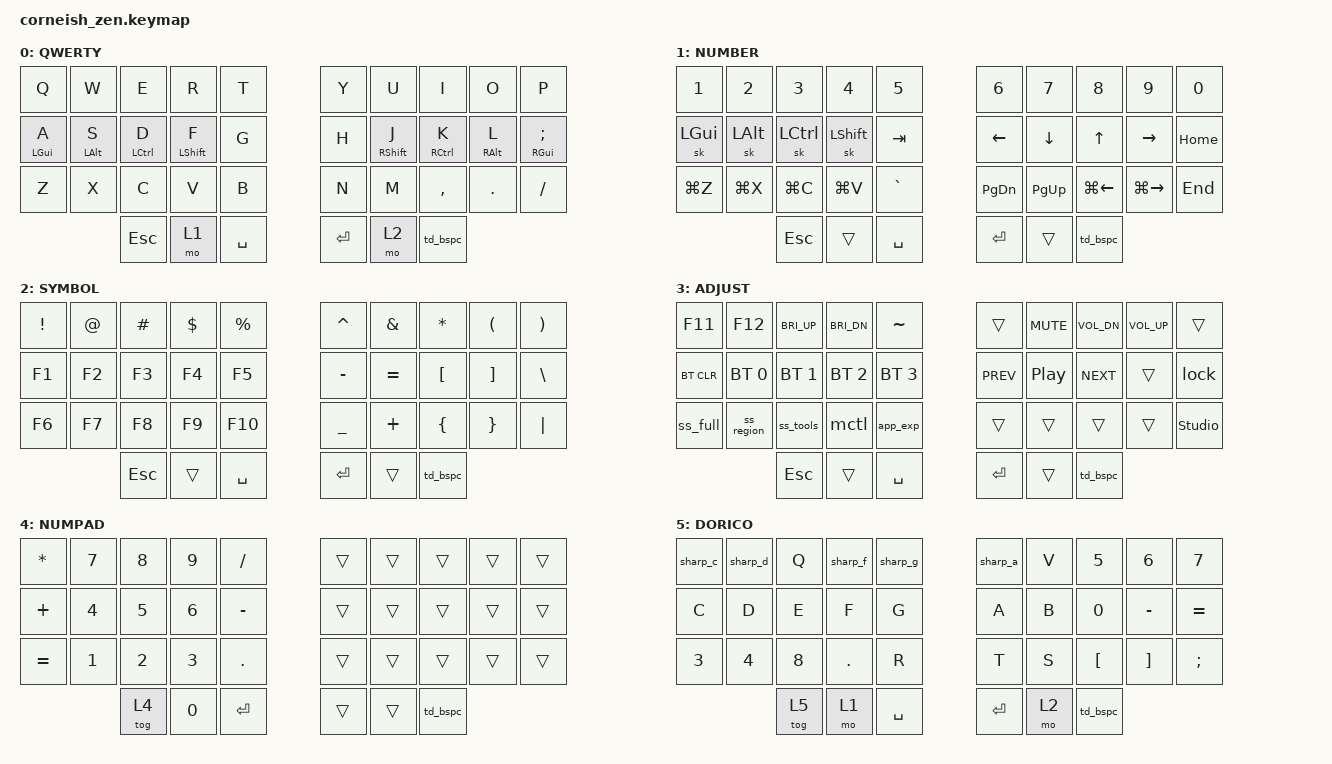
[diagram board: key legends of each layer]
#include <behaviors.dtsi>
#include <dt-bindings/zmk/keys.h>
#include <dt-bindings/zmk/bt.h>

// ╔════════════════════════════════════════════════════════════════════╗
// ║  KEY POSITION REFERENCE — 5-column Corne (36 keys)               ║
// ║                                                                    ║
// ║   0  1  2  3  4  │  5  6  7  8  9                                ║
// ║  10 11 12 13 14  │ 15 16 17 18 19                                ║
// ║  20 21 22 23 24  │ 25 26 27 28 29                                ║
// ║        30 31 32  │ 33 34 35                                       ║
// ╚════════════════════════════════════════════════════════════════════╝

// Left-hand key positions (for positional hold-tap)
#define KEYS_L 0 1 2 3 4 10 11 12 13 14 20 21 22 23 24
// Right-hand key positions
#define KEYS_R 5 6 7 8 9 15 16 17 18 19 25 26 27 28 29
// Thumb key positions
#define THUMBS 30 31 32 33 34 35

/ {
    chosen {
        zmk,physical-layout = &foostan_corne_5col_layout;
    };
};

/ {
    // ──────────────────────────────────────────────
    //  BEHAVIORS
    // ──────────────────────────────────────────────

    behaviors {
        // Home Row Mods — Left Hand
        // Hold triggers ONLY when a right-hand or thumb key is pressed.
        hml: home_row_mod_left {
            compatible = "zmk,behavior-hold-tap";
            #binding-cells = <2>;
            flavor = "balanced";
            tapping-term-ms = <280>;
            quick-tap-ms = <175>;
            require-prior-idle-ms = <150>;
            bindings = <&kp>, <&kp>;
            hold-trigger-key-positions = <KEYS_R THUMBS>;
            hold-trigger-on-release;
        };

        // Home Row Mods — Right Hand
        // Mirror of hml; triggers hold on left-hand or thumb keys.
        hmr: home_row_mod_right {
            compatible = "zmk,behavior-hold-tap";
            #binding-cells = <2>;
            flavor = "balanced";
            tapping-term-ms = <280>;
            quick-tap-ms = <175>;
            require-prior-idle-ms = <150>;
            bindings = <&kp>, <&kp>;
            hold-trigger-key-positions = <KEYS_L THUMBS>;
            hold-trigger-on-release;
        };

        // Mod-Morph: Backspace / Delete
        // Tap = Backspace. Shift + Tap = Delete.
        bspc_del: backspace_delete {
            compatible = "zmk,behavior-mod-morph";
            #binding-cells = <0>;
            bindings = <&kp BACKSPACE>, <&kp DELETE>;
            mods = <(MOD_LSFT|MOD_RSFT)>;
        };

        // Tap-Dance: Backspace / Delete Word / Delete Line
        // 1 tap = Backspace (mod-morph with Shift=Delete)
        // 2 taps = ⌥⌫ (delete previous word)
        // 3 taps = ⌘⌫ (delete to start of line)
        td_bspc: tap_dance_backspace {
            compatible = "zmk,behavior-tap-dance";
            #binding-cells = <0>;
            tapping-term-ms = <200>;
            bindings = <&bspc_del>, <&kp LA(BACKSPACE)>, <&kp LG(BACKSPACE)>;
        };
    };

    // ──────────────────────────────────────────────
    //  MACROS
    // ──────────────────────────────────────────────

    macros {
        // ⌘⇧3 — Screenshot full screen
        ss_full: screenshot_full {
            compatible = "zmk,behavior-macro";
            #binding-cells = <0>;
            wait-ms = <30>;
            tap-ms = <30>;
            bindings = <&macro_press &kp LGUI &kp LSHFT>
                     , <&macro_tap &kp N3>
                     , <&macro_release &kp LSHFT &kp LGUI>;
        };

        // ⌘⇧4 — Screenshot region
        ss_region: screenshot_region {
            compatible = "zmk,behavior-macro";
            #binding-cells = <0>;
            wait-ms = <30>;
            tap-ms = <30>;
            bindings = <&macro_press &kp LGUI &kp LSHFT>
                     , <&macro_tap &kp N4>
                     , <&macro_release &kp LSHFT &kp LGUI>;
        };

        // ⌘⇧5 — Screenshot toolbar
        ss_tools: screenshot_tools {
            compatible = "zmk,behavior-macro";
            #binding-cells = <0>;
            wait-ms = <30>;
            tap-ms = <30>;
            bindings = <&macro_press &kp LGUI &kp LSHFT>
                     , <&macro_tap &kp N5>
                     , <&macro_release &kp LSHFT &kp LGUI>;
        };

        // ⌃↑ — Mission Control
        mctl: mission_control {
            compatible = "zmk,behavior-macro";
            #binding-cells = <0>;
            wait-ms = <30>;
            tap-ms = <30>;
            bindings = <&macro_press &kp LCTRL>
                     , <&macro_tap &kp UP>
                     , <&macro_release &kp LCTRL>;
        };

        // ⌃↓ — App Expose
        app_exp: app_expose {
            compatible = "zmk,behavior-macro";
            #binding-cells = <0>;
            wait-ms = <30>;
            tap-ms = <30>;
            bindings = <&macro_press &kp LCTRL>
                     , <&macro_tap &kp DOWN>
                     , <&macro_release &kp LCTRL>;
        };

        // ⌘⌃Q — Lock Screen
        lock: lock_screen {
            compatible = "zmk,behavior-macro";
            #binding-cells = <0>;
            wait-ms = <30>;
            tap-ms = <30>;
            bindings = <&macro_press &kp LGUI &kp LCTRL>
                     , <&macro_tap &kp Q>
                     , <&macro_release &kp LCTRL &kp LGUI>;
        };

        // Dorico sharp macros — tap =(sharp) then pitch letter
        sharp_c: sharp_c {
            compatible = "zmk,behavior-macro";
            #binding-cells = <0>;
            wait-ms = <30>;
            tap-ms = <30>;
            bindings = <&kp EQUAL>, <&kp C>;
        };
        sharp_d: sharp_d {
            compatible = "zmk,behavior-macro";
            #binding-cells = <0>;
            wait-ms = <30>;
            tap-ms = <30>;
            bindings = <&kp EQUAL>, <&kp D>;
        };
        sharp_f: sharp_f {
            compatible = "zmk,behavior-macro";
            #binding-cells = <0>;
            wait-ms = <30>;
            tap-ms = <30>;
            bindings = <&kp EQUAL>, <&kp F>;
        };
        sharp_g: sharp_g {
            compatible = "zmk,behavior-macro";
            #binding-cells = <0>;
            wait-ms = <30>;
            tap-ms = <30>;
            bindings = <&kp EQUAL>, <&kp G>;
        };
        sharp_a: sharp_a {
            compatible = "zmk,behavior-macro";
            #binding-cells = <0>;
            wait-ms = <30>;
            tap-ms = <30>;
            bindings = <&kp EQUAL>, <&kp A>;
        };
    };

    // ──────────────────────────────────────────────
    //  COMBOS
    // ──────────────────────────────────────────────

    combos {
        compatible = "zmk,combos";

        // Tab: W + E (positions 1+2)
        combo_tab {
            timeout-ms = <50>;
            key-positions = <1 2>;
            bindings = <&kp TAB>;
            layers = <0 1 2 5>;
        };

        // Escape: Q + W (positions 0+1)
        combo_esc {
            timeout-ms = <50>;
            key-positions = <0 1>;
            bindings = <&kp ESC>;
            layers = <0 5>;
        };

        // Apostrophe: L + ; (positions 18+19)
        combo_apos {
            timeout-ms = <50>;
            key-positions = <18 19>;
            bindings = <&kp SQT>;
            layers = <0>;
        };

        // Caps Word: F + J (positions 13+16)
        combo_caps_word {
            timeout-ms = <50>;
            key-positions = <13 16>;
            bindings = <&caps_word>;
            layers = <0>;
        };

        // Delete: O + P (positions 8+9)
        combo_delete {
            timeout-ms = <50>;
            key-positions = <8 9>;
            bindings = <&kp DEL>;
            layers = <0>;
        };

        // Undo ⌘Z: Z + X (positions 20+21)
        combo_undo {
            timeout-ms = <50>;
            key-positions = <20 21>;
            bindings = <&kp LG(Z)>;
            layers = <0>;
        };

        // Copy ⌘C: C + V (positions 22+23)
        combo_copy {
            timeout-ms = <50>;
            key-positions = <22 23>;
            bindings = <&kp LG(C)>;
            layers = <0>;
        };

        // Paste ⌘V: V + B (positions 23+24)
        combo_paste {
            timeout-ms = <50>;
            key-positions = <23 24>;
            bindings = <&kp LG(V)>;
            layers = <0>;
        };

        // Switch window ⌘`: E + R (positions 2+3)
        combo_win_switch {
            timeout-ms = <50>;
            key-positions = <2 3>;
            bindings = <&kp LG(GRAVE)>;
            layers = <0>;
        };

        // Right Option: Y + U (positions 5+6)
        // Plain keypress for voice transcription activation
        combo_ralt {
            timeout-ms = <50>;
            key-positions = <5 6>;
            bindings = <&kp RALT>;
            layers = <0>;
        };

        // Zoom in ⌘=: U + I (positions 6+7)
        combo_zoom_in {
            timeout-ms = <50>;
            key-positions = <6 7>;
            bindings = <&kp LG(EQUAL)>;
            layers = <0>;
        };

        // Zoom out ⌘-: I + O (positions 7+8)
        combo_zoom_out {
            timeout-ms = <50>;
            key-positions = <7 8>;
            bindings = <&kp LG(MINUS)>;
            layers = <0>;
        };

        // Toggle Numpad layer: R + T (positions 3+4)
        combo_numpad {
            timeout-ms = <50>;
            key-positions = <3 4>;
            bindings = <&tog 4>;
            layers = <0 4>;
        };

        // Toggle Dorico layer: T + Y (positions 4+5, cross-hand)
        combo_dorico {
            timeout-ms = <50>;
            key-positions = <4 5>;
            bindings = <&tog 5>;
            layers = <0 5>;
        };
    };

    // ──────────────────────────────────────────────
    //  CONDITIONAL LAYER (tri-layer: Lower+Raise = Adjust)
    // ──────────────────────────────────────────────

    conditional_layers {
        compatible = "zmk,conditional-layers";

        adjust_layer {
            if-layers = <1 2>;
            then-layer = <3>;
        };
    };

    // ──────────────────────────────────────────────
    //  KEYMAP
    // ──────────────────────────────────────────────

    keymap {
        compatible = "zmk,keymap";

        // ┌──────────────────────────────────────────────────────────┐
        // │ LAYER 0: QWERTY + Home Row Mods                         │
        // │                                                          │
        // │   Q     W     E     R     T  │  Y     U     I     O   P │
        // │  ⌘/A   ⌥/S   ⌃/D   ⇧/F   G  │  H   ⇧/J   ⌃/K   ⌥/L ⌘/;│
        // │   Z     X     C     V     B  │  N     M     ,     .   / │
        // │             ESC   LWR   SPC  │ ENT   RSE   BSPC         │
        // │                                                          │
        // │ Combos: Q+W=ESC W+E=TAB L+;=' F+J=CapsWord O+P=DEL    │
        // │         Z+X=⌘Z C+V=⌘C V+B=⌘V                          │
        // └──────────────────────────────────────────────────────────┘
        default_layer {
            display-name = "QWERTY";
            bindings = <
&kp Q        &kp W       &kp E        &kp R        &kp T         &kp Y  &kp U        &kp I        &kp O       &kp P
&hml LGUI A  &hml LALT S &hml LCTRL D &hml LSHFT F &kp G         &kp H  &hmr RSHFT J &hmr RCTRL K &hmr RALT L &hmr RGUI SEMI
&kp Z        &kp X       &kp C        &kp V        &kp B         &kp N  &kp M        &kp COMMA    &kp DOT     &kp FSLH
                          &kp ESC      &mo 1        &kp SPACE     &kp RET &mo 2       &td_bspc
            >;
        };

        // ┌──────────────────────────────────────────────────────────┐
        // │ LAYER 1: NUMBER + NAVIGATION (Lower)                    │
        // │                                                          │
        // │   1     2     3     4     5  │  6     7     8     9   0 │
        // │  s⌘    s⌥    s⌃    s⇧   TAB │  ←     ↓     ↑     →  HOM│
        // │  ⌘Z    ⌘X    ⌘C    ⌘V     ` │PGDN  PGUP   ⌘←    ⌘→  END│
        // │             ESC   ▼▼▼   SPC  │ ENT         BSPC         │
        // └──────────────────────────────────────────────────────────┘
        lower_layer {
            display-name = "NUMBER";
            bindings = <
&kp N1     &kp N2    &kp N3    &kp N4    &kp N5        &kp N6    &kp N7    &kp N8       &kp N9        &kp N0
&sk LGUI   &sk LALT  &sk LCTRL &sk LSHFT &kp TAB       &kp LEFT  &kp DOWN  &kp UP       &kp RIGHT     &kp HOME
&kp LG(Z)  &kp LG(X) &kp LG(C) &kp LG(V) &kp GRAVE    &kp PG_DN &kp PG_UP &kp LG(LEFT) &kp LG(RIGHT) &kp END
                      &kp ESC   &trans    &kp SPACE     &kp RET   &trans    &td_bspc
            >;
        };

        // ┌──────────────────────────────────────────────────────────┐
        // │ LAYER 2: SYMBOL + F-KEYS (Raise)                        │
        // │                                                          │
        // │   !     @     #     $     %  │  ^     &     *     (   ) │
        // │  F1    F2    F3    F4    F5  │  -     =     [     ]   \ │
        // │  F6    F7    F8    F9   F10  │  _     +     {     }   | │
        // │             ESC         SPC  │ ENT   ▼▼▼   BSPC         │
        // └──────────────────────────────────────────────────────────┘
        raise_layer {
            display-name = "SYMBOL";
            bindings = <
&kp EXCL &kp AT &kp HASH &kp DLLR &kp PRCNT     &kp CARET &kp AMPS  &kp ASTRK &kp LPAR &kp RPAR
&kp F1   &kp F2 &kp F3   &kp F4   &kp F5        &kp MINUS &kp EQUAL &kp LBKT  &kp RBKT &kp BSLH
&kp F6   &kp F7 &kp F8   &kp F9   &kp F10       &kp UNDER &kp PLUS  &kp LBRC  &kp RBRC &kp PIPE
                 &kp ESC  &trans   &kp SPACE     &kp RET   &trans    &td_bspc
            >;
        };

        // ┌──────────────────────────────────────────────────────────┐
        // │ LAYER 3: ADJUST (Lower + Raise held simultaneously)     │
        // │                                                          │
        // │  F11   F12   BRI+  BRI-    ~ │      MUTE  VOL-  VOL+   │
        // │ BTCLR  BT1   BT2   BT3  BT4 │ PREV PLAY  NEXT      LOCK│
        // │  SS⌘3  SS⌘4  SS⌘5  MCTL  APP│                    STUDIO│
        // │             ESC         SPC  │ ENT         BSPC         │
        // └──────────────────────────────────────────────────────────┘
        adjust_layer {
            display-name = "ADJUST";
            bindings = <
&kp F11    &kp F12      &kp C_BRI_UP &kp C_BRI_DN &kp TILDE       &trans     &kp C_MUTE &kp C_VOL_DN &kp C_VOL_UP &trans
&bt BT_CLR &bt BT_SEL 0 &bt BT_SEL 1 &bt BT_SEL 2 &bt BT_SEL 3   &kp C_PREV &kp C_PP   &kp C_NEXT   &trans       &lock
&ss_full   &ss_region   &ss_tools    &mctl        &app_exp        &trans     &trans     &trans       &trans       &studio_unlock
                         &kp ESC      &trans       &kp SPACE       &kp RET    &trans     &td_bspc
            >;
        };

        // ┌──────────────────────────────────────────────────────────────┐
        // │ LAYER 4: NUMPAD (left hand, toggle via R+T combo)           │
        // │                                                              │
        // │   *     7     8     9     /  │                               │
        // │   +     4     5     6     -  │        (right hand free       │
        // │   =     1     2     3     .  │         for mouse)            │
        // │            EXIT    0    ENT  │               BSPC            │
        // └──────────────────────────────────────────────────────────────┘
        numpad_layer {
            display-name = "NUMPAD";
            bindings = <
&kp ASTRK  &kp N7  &kp N8  &kp N9  &kp FSLH      &trans  &trans  &trans  &trans  &trans
&kp PLUS   &kp N4  &kp N5  &kp N6  &kp MINUS     &trans  &trans  &trans  &trans  &trans
&kp EQUAL  &kp N1  &kp N2  &kp N3  &kp DOT       &trans  &trans  &trans  &trans  &trans
                    &tog 4  &kp N0  &kp RET       &trans  &trans  &td_bspc
            >;
        };

        // ┌──────────────────────────────────────────────────────────────┐
        // │ LAYER 5: DORICO — Piano emulation (toggle via T+Y combo)    │
        // │                                                              │
        // │  Top row = black keys (sharps), gaps where piano has none   │
        // │  Home row = white keys (C D E F G A B) + accidentals       │
        // │  Bottom row = durations + articulations                     │
        // │                                                              │
        // │   C♯    D♯    Q    F♯    G♯  │  A♯    V    8th   qtr  half │
        // │   C     D     E     F     G  │  A     B     ♮     ♭    ♯   │
        // │  32nd  16th whole  dot    R  │  T     S    [acc  ]stac ;tup│
        // │             EXIT  [L1]  SPC  │ ENT  [L2]  BSPC             │
        // │                                                              │
        // │  Combos: C♯+D♯=ESC (Q+W), D♯+·=TAB (W+E), T+Y=EXIT       │
        // └──────────────────────────────────────────────────────────────┘
        dorico_layer {
            display-name = "DORICO";
            bindings = <
&sharp_c   &sharp_d  &kp Q    &sharp_f  &sharp_g      &sharp_a  &kp V     &kp N5    &kp N6    &kp N7
&kp C      &kp D     &kp E    &kp F     &kp G         &kp A     &kp B     &kp N0    &kp MINUS &kp EQUAL
&kp N3     &kp N4    &kp N8   &kp DOT   &kp R         &kp T     &kp S     &kp LBKT  &kp RBKT  &kp SEMI
                      &tog 5   &mo 1     &kp SPACE     &kp RET   &mo 2     &td_bspc
            >;
        };
    };
};
